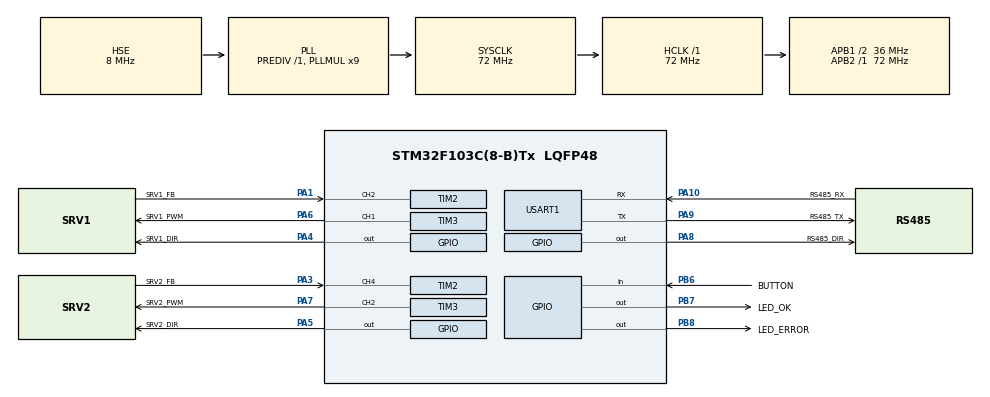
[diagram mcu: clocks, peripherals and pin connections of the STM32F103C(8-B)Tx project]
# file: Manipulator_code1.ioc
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Mcu.Family=STM32F1
Mcu.Name=STM32F103C(8-B)Tx
Mcu.Package=LQFP48
NVIC.PriorityGroup=NVIC_PRIORITYGROUP_4
NVIC.TIM2_IRQn=true\:0\:0\:false\:false\:true\:true\:true\:true
NVIC.USART1_IRQn=true\:0\:0\:false\:false\:true\:true\:true\:true
PA1.GPIO_Label=SRV1_FB
PA1.Signal=S_TIM2_CH2
PA10.GPIO_Label=RS485_RX
PA10.Mode=Asynchronous
PA10.Signal=USART1_RX
PA13.GPIO_Label=SWDIO
PA13.Mode=Serial_Wire
PA13.Signal=SYS_JTMS-SWDIO
PA14.GPIO_Label=SWCLOCK
PA14.Mode=Serial_Wire
PA14.Signal=SYS_JTCK-SWCLK
PA3.GPIO_Label=SRV2_FB
PA3.Signal=S_TIM2_CH4
PA4.GPIO_Label=SRV1_DIR
PA4.Signal=GPIO_Output
PA5.GPIO_Label=SRV2_DIR
PA5.Signal=GPIO_Output
PA6.GPIO_Label=SRV1_PWM
PA6.Signal=S_TIM3_CH1
PA7.GPIO_Label=SRV2_PWM
PA7.Signal=S_TIM3_CH2
PA8.GPIO_Label=RS485_DIR
PA8.Signal=GPIO_Output
PA9.GPIO_Label=RS485_TX
PA9.Mode=Asynchronous
PA9.Signal=USART1_TX
PB6.GPIO_Label=BUTTON
PB6.Signal=GPIO_Input
PB7.GPIO_Label=LED_OK
PB7.Signal=GPIO_Output
PB8.GPIO_Label=LED_ERROR
PB8.Signal=GPIO_Output
PD0-OSC_IN.Mode=HSE-External-Oscillator
PD0-OSC_IN.Signal=RCC_OSC_IN
PD1-OSC_OUT.Mode=HSE-External-Oscillator
PD1-OSC_OUT.Signal=RCC_OSC_OUT
ProjectManager.HeapSize=0x200
ProjectManager.StackSize=0x400
ProjectManager.TargetToolchain=STM32CubeIDE
RCC.AHBFreq_Value=72000000
RCC.APB1CLKDivider=RCC_HCLK_DIV2
RCC.APB1Freq_Value=36000000
RCC.APB1TimFreq_Value=72000000
RCC.APB2Freq_Value=72000000
RCC.APB2TimFreq_Value=72000000
RCC.HCLKFreq_Value=72000000
RCC.PLLMUL=RCC_PLL_MUL9
RCC.PLLSourceVirtual=RCC_PLLSOURCE_HSE
RCC.SYSCLKFreq_VALUE=72000000
RCC.SYSCLKSource=RCC_SYSCLKSOURCE_PLLCLK
RCC.USBFreq_Value=72000000
SH.S_TIM2_CH2.0=TIM2_CH2,Input_Capture2_from_TI2
SH.S_TIM2_CH4.0=TIM2_CH4,Input_Capture4_from_TI4
SH.S_TIM3_CH1.0=TIM3_CH1,PWM Generation1 CH1
SH.S_TIM3_CH2.0=TIM3_CH2,PWM Generation2 CH2
TIM2.Channel-Input_Capture1_from_TI2_63=TIM_CHANNEL_1
TIM2.Channel-Input_Capture2_from_TI2=TIM_CHANNEL_2
TIM2.Channel-Input_Capture3_from_TI4_63=TIM_CHANNEL_3
TIM2.Channel-Input_Capture4_from_TI4=TIM_CHANNEL_4
TIM2.ICPolarity_CH1=TIM_INPUTCHANNELPOLARITY_FALLING
TIM2.ICPolarity_CH3=TIM_INPUTCHANNELPOLARITY_FALLING
TIM2.ICPolarity_CH4=TIM_INPUTCHANNELPOLARITY_RISING
TIM2.Prescaler=100
TIM3.Channel-PWM\ Generation1\ CH1=TIM_CHANNEL_1
TIM3.Channel-PWM\ Generation2\ CH2=TIM_CHANNEL_2
TIM3.OCPolarity_1=TIM_OCPOLARITY_LOW
TIM3.OCPolarity_2=TIM_OCPOLARITY_LOW
TIM3.Period=3599
USART1.VirtualMode=VM_ASYNC
VP_TIM2_VS_indirect_ch2.Mode=Input_Capture1_from_TI2_63
VP_TIM2_VS_indirect_ch4.Mode=Input_Capture3_from_TI4_63
board=custom

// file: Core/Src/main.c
/* USER CODE BEGIN Header */
/**
  ******************************************************************************
  * @file           : main.c
  * @brief          : Main program body
  ******************************************************************************
  * @attention
  *
  * Copyright (c) 2024 STMicroelectronics.
  * All rights reserved.
  *
  * This software is licensed under terms that can be found in the LICENSE file
  * in the root directory of this software component.
  * If no LICENSE file comes with this software, it is provided AS-IS.
  *
  ******************************************************************************
  */
/* USER CODE END Header */
#include "main.h"

/* USER CODE BEGIN Includes */
#include "hydroservo.h"
/* USER CODE END Includes */

/* USER CODE BEGIN PD */
#define BUFFER_SIZE 1
/* USER CODE END PD */

TIM_HandleTypeDef htim2;
TIM_HandleTypeDef htim3;

UART_HandleTypeDef huart1;

/* USER CODE BEGIN PV */
uint8_t receiveBuffer;
HydroServo servo1;
HydroServo servo2;
int16_t speed = 0;;
/* USER CODE END PV */

void SystemClock_Config(void);
static void MX_GPIO_Init(void);
static void MX_TIM3_Init(void);
static void MX_USART1_UART_Init(void);
static void MX_TIM2_Init(void);

int main(void)
{

  /* MCU Configuration--------------------------------------------------------*/

  /* Reset of all peripherals, Initializes the Flash interface and the Systick. */
  HAL_Init();

  /* Configure the system clock */
  SystemClock_Config();

  /* Initialize all configured peripherals */
  MX_GPIO_Init();
  MX_TIM3_Init();
  MX_USART1_UART_Init();
  MX_TIM2_Init();
  /* USER CODE BEGIN 2 */
  hydroservoConfig servo1_config;
  hydroservoConfig servo2_config;

  servo1_config.tim_pwm = &htim3;
  servo1_config.tim_fb = &htim2;
  servo1_config.tim_channel_pwm = SERVO1_PWM_TIM_CHANNEL;
  servo1_config.tim_channel_fb_rise = SERVO1_FB_RISE_TIM_CHANNEL;
  servo1_config.tim_channel_fb_fall = SERVO1_FB_FALL_TIM_CHANNEL;
  servo1_config.tim_pwm_period = SERVO_PWM_PERIOD;
  servo1_config.tim_fb_period = SERVO_FB_PERIOD;
  servo1_config.tim_fb_clock = FB_TIMER_CLOCK;
  servo1_config.fb_min_duration = FB_MIN_DURATION;
  servo1_config.direction_port = SRV1_DIR_GPIO_Port;
  servo1_config.direction_pin = SRV1_DIR_Pin;
  servo1_config.fb_impulse_per_rotate = SERVO1_fb_impulse_per_rotate;

  servo2_config.tim_pwm = &htim3;
  servo2_config.tim_fb = &htim2;
  servo2_config.tim_channel_pwm = SERVO2_PWM_TIM_CHANNEL;
  servo2_config.tim_channel_fb_rise = SERVO2_FB_RISE_TIM_CHANNEL;
  servo2_config.tim_channel_fb_fall = SERVO2_FB_FALL_TIM_CHANNEL;
  servo2_config.tim_pwm_period = SERVO_PWM_PERIOD;
  servo2_config.tim_fb_period = SERVO_FB_PERIOD;
  servo2_config.tim_fb_clock = FB_TIMER_CLOCK;
  servo2_config.fb_min_duration = FB_MIN_DURATION;
  servo2_config.direction_port = SRV2_DIR_GPIO_Port;
  servo2_config.direction_pin = SRV2_DIR_Pin;
  servo2_config.fb_impulse_per_rotate = SERVO2_fb_impulse_per_rotate;

  hydroservo_Init(&servo1, servo1_config);
  hydroservo_Init(&servo2, servo2_config);

  HAL_GPIO_WritePin(LED_ERROR_GPIO_Port, LED_ERROR_Pin, SET);
  hydroservo_Calibrate(&servo2, SERVO_CALIBRATING_SPEED);
  hydroservo_SetLimitsOffset(&servo2, 100);
  HAL_GPIO_WritePin(LED_OK_GPIO_Port, LED_OK_Pin, SET);
  HAL_GPIO_WritePin(LED_ERROR_GPIO_Port, LED_ERROR_Pin, RESET);
  HAL_UART_Receive_IT(&huart1, &receiveBuffer, 1);

  /* USER CODE END 2 */

  /* Infinite loop */
  while (1)
  {
  }

}

void SystemClock_Config(void)
{
  RCC_OscInitTypeDef RCC_OscInitStruct = {0};
  RCC_ClkInitTypeDef RCC_ClkInitStruct = {0};

  /** Initializes the RCC Oscillators according to the specified parameters
  * in the RCC_OscInitTypeDef structure.
  */
  RCC_OscInitStruct.OscillatorType = RCC_OSCILLATORTYPE_HSE;
  RCC_OscInitStruct.HSEState = RCC_HSE_ON;
  RCC_OscInitStruct.HSEPredivValue = RCC_HSE_PREDIV_DIV1;
  RCC_OscInitStruct.HSIState = RCC_HSI_ON;
  RCC_OscInitStruct.PLL.PLLState = RCC_PLL_ON;
  RCC_OscInitStruct.PLL.PLLSource = RCC_PLLSOURCE_HSE;
  RCC_OscInitStruct.PLL.PLLMUL = RCC_PLL_MUL9;
  if (HAL_RCC_OscConfig(&RCC_OscInitStruct) != HAL_OK)
  {
    Error_Handler();
  }

  /** Initializes the CPU, AHB and APB buses clocks
  */
  RCC_ClkInitStruct.ClockType = RCC_CLOCKTYPE_HCLK|RCC_CLOCKTYPE_SYSCLK
                              |RCC_CLOCKTYPE_PCLK1|RCC_CLOCKTYPE_PCLK2;
  RCC_ClkInitStruct.SYSCLKSource = RCC_SYSCLKSOURCE_PLLCLK;
  RCC_ClkInitStruct.AHBCLKDivider = RCC_SYSCLK_DIV1;
  RCC_ClkInitStruct.APB1CLKDivider = RCC_HCLK_DIV2;
  RCC_ClkInitStruct.APB2CLKDivider = RCC_HCLK_DIV1;

  if (HAL_RCC_ClockConfig(&RCC_ClkInitStruct, FLASH_LATENCY_2) != HAL_OK)
  {
    Error_Handler();
  }
}

static void MX_TIM2_Init(void)
{

  TIM_MasterConfigTypeDef sMasterConfig = {0};
  TIM_IC_InitTypeDef sConfigIC = {0};

  htim2.Instance = TIM2;
  htim2.Init.Prescaler = 100;
  htim2.Init.CounterMode = TIM_COUNTERMODE_UP;
  htim2.Init.Period = 65535;
  htim2.Init.ClockDivision = TIM_CLOCKDIVISION_DIV1;
  htim2.Init.AutoReloadPreload = TIM_AUTORELOAD_PRELOAD_DISABLE;
  if (HAL_TIM_IC_Init(&htim2) != HAL_OK)
  {
    Error_Handler();
  }
  sMasterConfig.MasterOutputTrigger = TIM_TRGO_RESET;
  sMasterConfig.MasterSlaveMode = TIM_MASTERSLAVEMODE_DISABLE;
  if (HAL_TIMEx_MasterConfigSynchronization(&htim2, &sMasterConfig) != HAL_OK)
  {
    Error_Handler();
  }
  sConfigIC.ICPolarity = TIM_INPUTCHANNELPOLARITY_FALLING;
  sConfigIC.ICSelection = TIM_ICSELECTION_INDIRECTTI;
  sConfigIC.ICPrescaler = TIM_ICPSC_DIV1;
  sConfigIC.ICFilter = 0;
  if (HAL_TIM_IC_ConfigChannel(&htim2, &sConfigIC, TIM_CHANNEL_1) != HAL_OK)
  {
    Error_Handler();
  }
  sConfigIC.ICPolarity = TIM_INPUTCHANNELPOLARITY_RISING;
  sConfigIC.ICSelection = TIM_ICSELECTION_DIRECTTI;
  if (HAL_TIM_IC_ConfigChannel(&htim2, &sConfigIC, TIM_CHANNEL_2) != HAL_OK)
  {
    Error_Handler();
  }
  sConfigIC.ICPolarity = TIM_INPUTCHANNELPOLARITY_FALLING;
  sConfigIC.ICSelection = TIM_ICSELECTION_INDIRECTTI;
  if (HAL_TIM_IC_ConfigChannel(&htim2, &sConfigIC, TIM_CHANNEL_3) != HAL_OK)
  {
    Error_Handler();
  }
  sConfigIC.ICPolarity = TIM_INPUTCHANNELPOLARITY_RISING;
  sConfigIC.ICSelection = TIM_ICSELECTION_DIRECTTI;
  if (HAL_TIM_IC_ConfigChannel(&htim2, &sConfigIC, TIM_CHANNEL_4) != HAL_OK)
  {
    Error_Handler();
  }

}

static void MX_TIM3_Init(void)
{

  TIM_MasterConfigTypeDef sMasterConfig = {0};
  TIM_OC_InitTypeDef sConfigOC = {0};

  htim3.Instance = TIM3;
  htim3.Init.Prescaler = 0;
  htim3.Init.CounterMode = TIM_COUNTERMODE_UP;
  htim3.Init.Period = 3599;
  htim3.Init.ClockDivision = TIM_CLOCKDIVISION_DIV1;
  htim3.Init.AutoReloadPreload = TIM_AUTORELOAD_PRELOAD_DISABLE;
  if (HAL_TIM_PWM_Init(&htim3) != HAL_OK)
  {
    Error_Handler();
  }
  sMasterConfig.MasterOutputTrigger = TIM_TRGO_RESET;
  sMasterConfig.MasterSlaveMode = TIM_MASTERSLAVEMODE_DISABLE;
  if (HAL_TIMEx_MasterConfigSynchronization(&htim3, &sMasterConfig) != HAL_OK)
  {
    Error_Handler();
  }
  sConfigOC.OCMode = TIM_OCMODE_PWM1;
  sConfigOC.Pulse = 0;
  sConfigOC.OCPolarity = TIM_OCPOLARITY_LOW;
  sConfigOC.OCFastMode = TIM_OCFAST_DISABLE;
  if (HAL_TIM_PWM_ConfigChannel(&htim3, &sConfigOC, TIM_CHANNEL_1) != HAL_OK)
  {
    Error_Handler();
  }
  if (HAL_TIM_PWM_ConfigChannel(&htim3, &sConfigOC, TIM_CHANNEL_2) != HAL_OK)
  {
    Error_Handler();
  }
  HAL_TIM_MspPostInit(&htim3);

}

static void MX_USART1_UART_Init(void)
{

  huart1.Instance = USART1;
  huart1.Init.BaudRate = 115200;
  huart1.Init.WordLength = UART_WORDLENGTH_8B;
  huart1.Init.StopBits = UART_STOPBITS_1;
  huart1.Init.Parity = UART_PARITY_NONE;
  huart1.Init.Mode = UART_MODE_TX_RX;
  huart1.Init.HwFlowCtl = UART_HWCONTROL_NONE;
  huart1.Init.OverSampling = UART_OVERSAMPLING_16;
  if (HAL_UART_Init(&huart1) != HAL_OK)
  {
    Error_Handler();
  }

}

static void MX_GPIO_Init(void)
{
  GPIO_InitTypeDef GPIO_InitStruct = {0};

  /* GPIO Ports Clock Enable */
  __HAL_RCC_GPIOD_CLK_ENABLE();
  __HAL_RCC_GPIOA_CLK_ENABLE();
  __HAL_RCC_GPIOB_CLK_ENABLE();

  /*Configure GPIO pin Output Level */
  HAL_GPIO_WritePin(GPIOA, SRV1_DIR_Pin|SRV2_DIR_Pin|RS485_DIR_Pin, GPIO_PIN_RESET);

  /*Configure GPIO pin Output Level */
  HAL_GPIO_WritePin(GPIOB, LED_OK_Pin|LED_ERROR_Pin, GPIO_PIN_RESET);

  /*Configure GPIO pins : SRV1_DIR_Pin SRV2_DIR_Pin RS485_DIR_Pin */
  GPIO_InitStruct.Pin = SRV1_DIR_Pin|SRV2_DIR_Pin|RS485_DIR_Pin;
  GPIO_InitStruct.Mode = GPIO_MODE_OUTPUT_PP;
  GPIO_InitStruct.Pull = GPIO_NOPULL;
  GPIO_InitStruct.Speed = GPIO_SPEED_FREQ_LOW;
  HAL_GPIO_Init(GPIOA, &GPIO_InitStruct);

  /*Configure GPIO pin : BUTTON_Pin */
  GPIO_InitStruct.Pin = BUTTON_Pin;
  GPIO_InitStruct.Mode = GPIO_MODE_INPUT;
  GPIO_InitStruct.Pull = GPIO_NOPULL;
  HAL_GPIO_Init(BUTTON_GPIO_Port, &GPIO_InitStruct);

  /*Configure GPIO pins : LED_OK_Pin LED_ERROR_Pin */
  GPIO_InitStruct.Pin = LED_OK_Pin|LED_ERROR_Pin;
  GPIO_InitStruct.Mode = GPIO_MODE_OUTPUT_PP;
  GPIO_InitStruct.Pull = GPIO_NOPULL;
  GPIO_InitStruct.Speed = GPIO_SPEED_FREQ_LOW;
  HAL_GPIO_Init(GPIOB, &GPIO_InitStruct);

}

/* USER CODE BEGIN 4 */

//сделать обработку от шумов

void HAL_TIM_IC_CaptureCallback(TIM_HandleTypeDef *htim)
{
    if (htim->Instance == TIM2)
    {
        if(htim->Channel == HAL_TIM_ACTIVE_CHANNEL_1)
        {
        	hydroservo_CallbackByFeedbackFall(&servo1);
        }
        if(htim->Channel == HAL_TIM_ACTIVE_CHANNEL_2)
        {
        	hydroservo_CallbackByFeedbackRise(&servo1);
        }
        if(htim->Channel == HAL_TIM_ACTIVE_CHANNEL_3)
        {
        	hydroservo_CallbackByFeedbackFall(&servo2);
        }
        if(htim->Channel == HAL_TIM_ACTIVE_CHANNEL_4)
        {
        	hydroservo_CallbackByFeedbackRise(&servo2);
        }
    }
}

/*void HAL_TIM_IC_CaptureCallback(TIM_HandleTypeDef *htim)
{
    if (htim->Instance == TIM2)
    {
        if(htim->Channel == HAL_TIM_ACTIVE_CHANNEL_3 &&
        		HAL_TIM_ReadCapturedValue(&htim2, TIM_CHANNEL_3) - HAL_TIM_ReadCapturedValue(&htim2, TIM_CHANNEL_4) > INC_FB_GAP)
        {
            	hydroservo_CallbackByFeedbackRise(&servo1);
        }
    }
}*/

void HAL_TIM_PeriodElapsedCallback(TIM_HandleTypeDef *htim)
{
	if(htim->Instance == TIM2)
	{
		hydroservo_CallbackPeriodElapsed(&servo1);
		hydroservo_CallbackPeriodElapsed(&servo2);
	}
}

void HAL_UART_RxCpltCallback(UART_HandleTypeDef *huart)
{
	if(huart == &huart1)
	{
		  HAL_UART_Receive_IT(&huart1, &receiveBuffer, 1);
		  switch(receiveBuffer)
		  {
		  case '0':
			  hydroservo_SetSpeed(&servo1, 0);
			  hydroservo_SetSpeed(&servo2, 0);
			  break;
		  case '1':
			  hydroservo_SetSpeed(&servo1, SERVO_SPEED_ROTATION);
			  hydroservo_SetSpeed(&servo2, 0);
			  break;
		  case '2':
			  hydroservo_SetSpeed(&servo1, -SERVO_SPEED_ROTATION);
			  hydroservo_SetSpeed(&servo2, 0);
			  break;
		  case '3':
			  hydroservo_SetSpeed(&servo1, 0);
			  hydroservo_SetSpeed(&servo2, SERVO_SPEED_GRAB);
			  break;
		  case '4':
			  hydroservo_SetSpeed(&servo1, 0);
			  hydroservo_SetSpeed(&servo2, -SERVO_SPEED_GRAB);
			  break;
		  }
	}
}

/* USER CODE END 4 */

void Error_Handler(void)
{
  __disable_irq();
  while (1)
  {
  }
}
